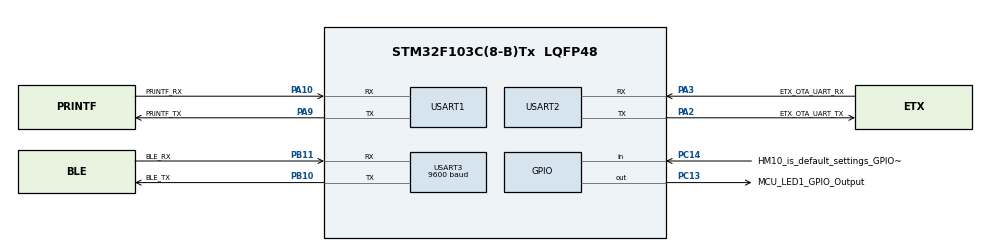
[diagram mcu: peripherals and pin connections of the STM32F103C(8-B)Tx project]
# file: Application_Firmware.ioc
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Mcu.Family=STM32F1
Mcu.Name=STM32F103C(8-B)Tx
Mcu.Package=LQFP48
NVIC.PriorityGroup=NVIC_PRIORITYGROUP_4
NVIC.USART2_IRQn=true\:0\:0\:false\:false\:true\:true\:true\:true
NVIC.USART3_IRQn=true\:0\:0\:false\:false\:true\:true\:true\:true
PA10.GPIO_Label=PRINTF_RX
PA10.Mode=Asynchronous
PA10.Signal=USART1_RX
PA2.GPIO_Label=ETX_OTA_UART_TX
PA2.Mode=Asynchronous
PA2.Signal=USART2_TX
PA3.GPIO_Label=ETX_OTA_UART_RX
PA3.Mode=Asynchronous
PA3.Signal=USART2_RX
PA9.GPIO_Label=PRINTF_TX
PA9.Mode=Asynchronous
PA9.Signal=USART1_TX
PB10.GPIO_Label=BLE_TX
PB10.Mode=Asynchronous
PB10.Signal=USART3_TX
PB11.GPIO_Label=BLE_RX
PB11.Mode=Asynchronous
PB11.Signal=USART3_RX
PC13-TAMPER-RTC.GPIO_Label=MCU_LED1_GPIO_Output
PC13-TAMPER-RTC.PinState=GPIO_PIN_SET
PC13-TAMPER-RTC.Signal=GPIO_Output
PC14-OSC32_IN.GPIO_Label=HM10_is_default_settings_GPIO_Input
PC14-OSC32_IN.GPIO_PuPd=GPIO_PULLDOWN
PC14-OSC32_IN.Signal=GPIO_Input
PD0-OSC_IN.Mode=HSE-External-Oscillator
PD0-OSC_IN.Signal=RCC_OSC_IN
PD1-OSC_OUT.Mode=HSE-External-Oscillator
PD1-OSC_OUT.Signal=RCC_OSC_OUT
ProjectManager.HeapSize=0x200
ProjectManager.StackSize=0x400
ProjectManager.TargetToolchain=STM32CubeIDE
RCC.AHBCLKDivider=RCC_SYSCLK_DIV4
RCC.AHBFreq_Value=2000000
RCC.APB1Freq_Value=2000000
RCC.APB1TimFreq_Value=2000000
RCC.APB2Freq_Value=2000000
RCC.APB2TimFreq_Value=2000000
RCC.HCLKFreq_Value=2000000
RCC.SYSCLKSource=RCC_SYSCLKSOURCE_HSE
RCC.TimSys_Div=SYSTICK_CLKSOURCE_HCLK_DIV8
RCC.USBFreq_Value=8000000
USART1.VirtualMode=VM_ASYNC
USART2.VirtualMode=VM_ASYNC
USART3.BaudRate=9600
USART3.VirtualMode=VM_ASYNC
VP_SYS_VS_ND.Mode=No_Debug
board=custom

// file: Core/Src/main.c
/* USER CODE BEGIN Header */
/** @file
 *	@brief	Main file at which the main/actual application of our MCU/MPU lies at.
 *
 * @defgroup main Main module
 * @{
 *
 * @brief	This is the Main Module, where the main part of the application of the whole code lies.
 *
 * @details	The purpose of this module is to provide a template code for any general purpose application that is desired
 *          to be developed for an STM32 MCU/MPU in which such a template consists of an Application Firmware that
 *          already provides the code to manage and handle Firmware Updates via the Mortrack's ETX OTA Protocol which
 *          uses the @ref firmware_update_config .
 *
 * @note    The @ref main template is actually functioning as an Application Firmware that has a Bootloader counterpart
 *          and that should be located in an independent project to this, next to the root folder where the @ref main
 *          project's File Path is located at.
 *
 * @details	In addition, the ETX OTA Protocol also optionally allows to receive Custom Data from the host machine for
 * 			whatever purpose the implementer requires it for.
 * @details In the case of receiving an ETX OTA Custom Data Request from the host machine, then the received data will
 *          be handled via the @ref etx_ota_custom_data struct at the @ref etx_ota_status_resp_handler function in order
 *          to be able to immediately process any new received ETX OTA Custom Data from the host.
 *
 * @note    To learn more details about how to configure and handle ETX OTA Custom Data Requests, see the
 *          @ref init_firmware_update_module and @ref etx_ota_status_resp_handler functions.
 *
 * @details The logic contemplated in this @ref main template assumes that neither Bootloader or Application Firmware
 *          Updates will be applied by this Application Firmware. Instead, whenever receiving those requests, our
 *          MCU/MPU should apply a Software Reset in order to enter into Bootloader mode again to try receiving those
 *          Firmware Update requests there, since it is expected that only the Bootloader installs Firmware Images into
 *          our MCU/MPU.
 *
 * @author 	Cesar Miranda Meza (cmirandameza3@hotmail.com)
 * @date	December 13, 2023.
 */
/* USER CODE END Header */
#include "main.h"

/* USER CODE BEGIN Includes */
#include <stdio.h>	// Library from which "printf" is located at.
#include <stdint.h> // This library contains the aliases: uint8_t, uint16_t, uint32_t, etc.
#include "app_side_etx_ota.h" // This custom Mortrack's library contains the functions, definitions and variables required so that the Main module can receive and apply Firmware Update Images to our MCU/MPU.
/* USER CODE END Includes */

/* USER CODE BEGIN PD */
#define APLICATION_FIRMWARE_ADDRESS					(ETX_APP_FLASH_ADDR)					/**< @brief Designated Memory Location address for the Application Firmware. */
#define GPIO_MCU_LED1_Pin							(GPIO_PIN_13)							/**< @brief Label for Pin PC13 in Output Mode, which is the Green LED1 of our MCU that the @ref main module will use in its program for indicating to the user whenever our MCU/MPU gets a software error or not. @details The following are the output states to be taken into account:<br><br>* 0 (i.e., Low State and also LED1 turned On) = MCU got a Software Error.<br>* 1 (i.e., High State and also LED1 turned Off) = MCU has no software error. */
#define GPIO_is_hm10_default_settings_Port 			((GPIO_TypeDef *) GPIOC)				/**< @brief @ref GPIO_TypeDef Type of the GPIO Port towards which the Input Mode GPIO Pin PC14 will be used so that our MCU can know whether the user wants it to set the default configuration settings in the HM-10 BT Device or not. */
#define GPIO_is_hm10_default_settings_Pin			(GPIO_PIN_14)							/**< @brief Label for the GPIO Pin 14 towards which the GPIO Pin PC14 in Input Mode is at, which is used so that our MCU can know whether the user wants it to set the default configuration settings in the HM-10 BT Device or not. @details The following are the possible values of this Pin:<br><br>* 0 (i.e., Low State) = Do not reset/change the configuration settings of the HM-10 BT Device.<br>* 1 (i.e., High State) = User requests to reset the configuration settings of the HM-10 BT Device to its default settings. */
#define MAJOR 										(0)										/**< @brief Major version number of our MCU/MPU's Application Firmware. */
#define MINOR 										(4)										/**< @brief Minor version number of our MCU/MPU's Application Firmware. */
/* USER CODE END PD */

UART_HandleTypeDef huart1;
UART_HandleTypeDef huart2;
UART_HandleTypeDef huart3;

/* USER CODE BEGIN PV */
// NOTE: "huart1" is used for debugging messages via printf() from stdio.h library.
// NOTE: "huart2" is used for communicating with the host that will be sending firmware images to our MCU via the ETX OTA Protocol with the UART Hardware Protocol.
// NOTE: "huart3" is used for communicating with the host that will be sending firmware images to our MCU via the ETX OTA Protocol with the BT Hardware Protocol.
const uint8_t APP_version[2] = {MAJOR, MINOR};		/**< @brief Global array variable used to hold the Major and Minor version number of our MCU/MPU's Application Firmware in the 1st and 2nd byte respectively. */
firmware_update_config_data_t fw_config;			        /**< @brief Global struct used to either pass to it the data that we want to write into the designated Flash Memory pages of the @ref firmware_update_config sub-module or, in the case of a read request, where that sub-module will write the latest data contained in the sub-module. */
etx_ota_custom_data_t etx_ota_custom_data;			        /**< @brief	Global struct where it is desired to hold the handling data for any received ETX OTA Custom Data. */
static HM10_GPIO_def_t GPIO_is_hm10_default_settings;       /**< @brief Global variable that will to hold the GPIO pin parameters of the Input Mode GPIO Pin to be used so that our MCU can know whether the user wants it to set the default configuration settings in the HM-10 BT Device or not. */
/* USER CODE END PV */

void SystemClock_Config(void);
static void MX_GPIO_Init(void);
static void MX_USART1_UART_Init(void);
static void MX_USART2_UART_Init(void);
static void MX_USART3_UART_Init(void);
/* USER CODE BEGIN PFP */

/**@brief	Initializes the @ref firmware_update_config sub-module and then loads the latest data that has been written
 *          into it, if there is any. However, in the case that any of these processes fail, then this function will
 *          endlessly loop via a \c while() function and set the @ref GPIO_MCU_LED1_Pin to @ref GPIO_PIN_RESET state.
 *
 * @details	In case that all the processes conclude successfully, the latest data of the @ref firmware_update_config
 *          sub-module will be copied into the global struct \c fw_config .
 *
 * @details	A maximum of three attempts to initialize this module will be made, with a delay of 0.5 seconds each.
 *
 * @author	César Miranda Meza (cmirandameza3@hotmail.com)
 * @date	November 19, 2023
 */
static void custom_firmware_update_config_init();

/**@brief	Initializes the @ref bl_side_firmware_update with a desired Hardware Protocol and, only in the case that the
 *          initialization is unsuccessful, then this function will endlessly loop via a \c while() function and set the
 *          @ref GPIO_MCU_LED1_Pin to @ref GPIO_PIN_RESET state.
 *
 * @details	This function creates and populate the fields of three structs required for initializing the
 *          @ref bl_side_firmware_update via the @ref init_firmware_update_module function. In the case where that
 *          function initializes the @ref bl_side_firmware_update successfully, then this
 *          @ref custom_firmware_update_config_init function will terminate. Otherwise, it will endlessly loop via a \c
 *          while() function and set the @ref GPIO_MCU_LED1_Pin to @ref GPIO_PIN_RESET state.
 *
 * @note    The @ref fw_config Global struct must have already been populated with the latest data written into the
 *          @ref firmware_update_config before calling this function.
 *
 * @param hw_protocol   ETX OTA Hardware Protocol that is desired to enable whenever using the ETX OTA Protocol.
 * @param[in] p_huart   Pointer to the UART that wants to be used from our MCU/MPU as the means for using the chosen ETX
 *                      OTA Hardware Protocol.
 *
 * @author	César Miranda Meza
 * @date	November 19, 2023
 */
static void custom_init_etx_ota_protocol_module(ETX_OTA_hw_Protocol hw_protocol, UART_HandleTypeDef *p_huart);

/**@brief	Validates the CRC of our MCU/MPU's current Application Firmware and, only in the case that the Application
 *          Firmware is not valid or is corrupted, then this function will endlessly loop via a \c while() function and
 *          set the @ref GPIO_MCU_LED1_Pin to @ref GPIO_PIN_RESET state.
 *
 * @details	This function reads the data stored in the @ref firmware_update_config via the @ref fw_config Global struct
 *          to get the recorded CRC of the Application Firmware and it calculates the CRC of the actual Application
 *          Firmware currently installed in our MCU/MPU. After this, both CRCs are used for validating our MCU/MPU's
 *          current Bootloader Firmware. If both CRCs match, then this function will terminate. Otherwise, it will
 *          endlessly loop via a \c while() function and set the @ref GPIO_MCU_LED1_Pin to @ref GPIO_PIN_RESET state.
 *
 * @note    The @ref fw_config Global struct must have already been populated with the latest data written into the
 *          @ref firmware_update_config before calling this function.
 *
 * @author	César Miranda Meza
 * @date	November 19, 2023
 */
static void validate_application_firmware();

/* USER CODE END PFP */

int main(void)
{

  /* MCU Configuration--------------------------------------------------------*/

  /* Reset of all peripherals, Initializes the Flash interface and the Systick. */
  HAL_Init();

  /* Configure the system clock */
  SystemClock_Config();

  /* Initialize all configured peripherals */
  MX_GPIO_Init();
  MX_USART1_UART_Init();
  MX_USART2_UART_Init();
  MX_USART3_UART_Init();
  /* USER CODE BEGIN 2 */

    /* Send a message from the Application showing the current Application version there. */
  	printf("Starting Application v%d.%d\r\n", APP_version[0], APP_version[1]);

    /* We initialize the Firmware Update Configurations sub-module and the ETX OTA Firmware Update module, and also validate the currently installed Application Firmware in our MCU/MPU. */
    // NOTE: These initializations must be made in that order. After those, you may call the initialization functions of your actual application.
    custom_firmware_update_config_init();
    custom_init_etx_ota_protocol_module(ETX_OTA_hw_Protocol_BT, &huart3);
    validate_application_firmware();

  /* USER CODE END 2 */

  /* Infinite loop */
  while (1)
  {

    /* USER CODE BEGIN 3 */
	// NOTE: Write your actual application code here.
  }
  /* USER CODE END 3 */
}

void SystemClock_Config(void)
{
  RCC_OscInitTypeDef RCC_OscInitStruct = {0};
  RCC_ClkInitTypeDef RCC_ClkInitStruct = {0};

  /** Initializes the RCC Oscillators according to the specified parameters
  * in the RCC_OscInitTypeDef structure.
  */
  RCC_OscInitStruct.OscillatorType = RCC_OSCILLATORTYPE_HSE;
  RCC_OscInitStruct.HSEState = RCC_HSE_ON;
  RCC_OscInitStruct.PLL.PLLState = RCC_PLL_NONE;
  if (HAL_RCC_OscConfig(&RCC_OscInitStruct) != HAL_OK)
  {
    Error_Handler();
  }

  /** Initializes the CPU, AHB and APB buses clocks
  */
  RCC_ClkInitStruct.ClockType = RCC_CLOCKTYPE_HCLK|RCC_CLOCKTYPE_SYSCLK
                              |RCC_CLOCKTYPE_PCLK1|RCC_CLOCKTYPE_PCLK2;
  RCC_ClkInitStruct.SYSCLKSource = RCC_SYSCLKSOURCE_HSE;
  RCC_ClkInitStruct.AHBCLKDivider = RCC_SYSCLK_DIV4;
  RCC_ClkInitStruct.APB1CLKDivider = RCC_HCLK_DIV1;
  RCC_ClkInitStruct.APB2CLKDivider = RCC_HCLK_DIV1;

  if (HAL_RCC_ClockConfig(&RCC_ClkInitStruct, FLASH_LATENCY_0) != HAL_OK)
  {
    Error_Handler();
  }
}

static void MX_USART1_UART_Init(void)
{

  huart1.Instance = USART1;
  huart1.Init.BaudRate = 115200;
  huart1.Init.WordLength = UART_WORDLENGTH_8B;
  huart1.Init.StopBits = UART_STOPBITS_1;
  huart1.Init.Parity = UART_PARITY_NONE;
  huart1.Init.Mode = UART_MODE_TX_RX;
  huart1.Init.HwFlowCtl = UART_HWCONTROL_NONE;
  huart1.Init.OverSampling = UART_OVERSAMPLING_16;
  if (HAL_UART_Init(&huart1) != HAL_OK)
  {
    Error_Handler();
  }

}

static void MX_USART2_UART_Init(void)
{

  huart2.Instance = USART2;
  huart2.Init.BaudRate = 115200;
  huart2.Init.WordLength = UART_WORDLENGTH_8B;
  huart2.Init.StopBits = UART_STOPBITS_1;
  huart2.Init.Parity = UART_PARITY_NONE;
  huart2.Init.Mode = UART_MODE_TX_RX;
  huart2.Init.HwFlowCtl = UART_HWCONTROL_NONE;
  huart2.Init.OverSampling = UART_OVERSAMPLING_16;
  if (HAL_UART_Init(&huart2) != HAL_OK)
  {
    Error_Handler();
  }

}

static void MX_USART3_UART_Init(void)
{

  huart3.Instance = USART3;
  huart3.Init.BaudRate = 9600;
  huart3.Init.WordLength = UART_WORDLENGTH_8B;
  huart3.Init.StopBits = UART_STOPBITS_1;
  huart3.Init.Parity = UART_PARITY_NONE;
  huart3.Init.Mode = UART_MODE_TX_RX;
  huart3.Init.HwFlowCtl = UART_HWCONTROL_NONE;
  huart3.Init.OverSampling = UART_OVERSAMPLING_16;
  if (HAL_UART_Init(&huart3) != HAL_OK)
  {
    Error_Handler();
  }

}

static void MX_GPIO_Init(void)
{
  GPIO_InitTypeDef GPIO_InitStruct = {0};

  /* GPIO Ports Clock Enable */
  __HAL_RCC_GPIOC_CLK_ENABLE();
  __HAL_RCC_GPIOD_CLK_ENABLE();
  __HAL_RCC_GPIOA_CLK_ENABLE();
  __HAL_RCC_GPIOB_CLK_ENABLE();

  /*Configure GPIO pin Output Level */
  HAL_GPIO_WritePin(GPIOC, GPIO_PIN_13, GPIO_PIN_SET);

  /*Configure GPIO pin : PC13 */
  GPIO_InitStruct.Pin = GPIO_PIN_13;
  GPIO_InitStruct.Mode = GPIO_MODE_OUTPUT_PP;
  GPIO_InitStruct.Pull = GPIO_NOPULL;
  GPIO_InitStruct.Speed = GPIO_SPEED_FREQ_LOW;
  HAL_GPIO_Init(GPIOC, &GPIO_InitStruct);

  /*Configure GPIO pin : PC14 */
  GPIO_InitStruct.Pin = GPIO_PIN_14;
  GPIO_InitStruct.Mode = GPIO_MODE_INPUT;
  GPIO_InitStruct.Pull = GPIO_PULLDOWN;
  HAL_GPIO_Init(GPIOC, &GPIO_InitStruct);

}

/* USER CODE BEGIN 4 */

/**@brief	Compiler definition to be able to use the @ref printf function from stdio.h library in order to print
 *          characters via the UART1 Peripheral but by using that @ref printf function.
 *
 * @return	The \p ch param.
 *
 * author	César Miranda Meza
 * @date	July 07, 2023
 */
#ifdef __GNUC__
/* With GCC, small printf (option LD Linker->Libraries->Small printf set to 'Yes') calls __io_putchar(). */
int __io_putchar(int ch)
#else
int fputc(int ch, FILE *f)
#endif /* __GNUC__ */
{
	/* Place your implementation of fputc here. */
	/* NOTE: The characters written into the UART1 Protocol will be looped until the end of transmission. */
	HAL_UART_Transmit(&huart1, (uint8_t *) &ch, 1, HAL_MAX_DELAY);
	return ch;
}

static void custom_firmware_update_config_init()
{
    /** <b>Local variable ret:</b> Return value of a @ref FirmUpdConf_Status function type. */
    int16_t ret;
    /** <b>Local variable attempts:</b> Counter for the number of attempts to initialize the Firmware Update Configurations sub-module. */
    uint8_t attempts = 0;
    /** <b>Local variable end_tick:</b> Defines the HAL Tick that our MCU/MPU needs to reach so that 0.5 seconds have passed with respect to each attempt to initialize the @ref firmware_update_config . */
    uint32_t end_tick;
    /** <b>Local variable current_tick:</b> Current HAL Tick in our MCU/MPU. */
    uint32_t current_tick;

    printf("Initializing the Firmware Update Configurations sub-module...\r\n");
    do
    {
        /* Delay of 500 milliseconds. */
        end_tick = HAL_GetTick() + 500;
        current_tick = 0;
        while (current_tick < end_tick)
        {
            current_tick = HAL_GetTick();
        }

        /* We attempt to initialize the Firmware Update Configurations sub-module. */
        ret = firmware_update_configurations_init();
        attempts++;
        if (ret == FIRM_UPDT_CONF_EC_OK)
        {
            /* We read the latest data that has been written into the Firmware Update Configurations sub-module. */
            firmware_update_configurations_read(&fw_config);
            printf("DONE: Firmware Update Configurations sub-module has been successfully initialized.\r\n");

            return;
        }
        printf("WARNING: The Firmware Update Configurations sub-module could not be initialized at attempt %d...\r\n", attempts);
    }
    while(attempts < 3);

    printf("ERROR: The Firmware Update Configurations sub-module could not be initialized. Our MCU/MPU will halt!.\r\n");
    HAL_GPIO_WritePin(GPIOC, GPIO_MCU_LED1_Pin, GPIO_PIN_RESET);
    while (1);
}

static void custom_init_etx_ota_protocol_module(ETX_OTA_hw_Protocol hw_protocol, UART_HandleTypeDef *p_huart)
{
    /** <b>Local variable ret:</b> Used to hold the exception code value returned by a @ref ETX_OTA_Status function type. */
    ETX_OTA_Status ret;

    printf("Initializing the ETX OTA Firmware Update Module.\r\n");
    GPIO_is_hm10_default_settings.GPIO_Port = GPIO_is_hm10_default_settings_Port;
    GPIO_is_hm10_default_settings.GPIO_Pin = GPIO_is_hm10_default_settings_Pin;

    ret = init_firmware_update_module(hw_protocol, p_huart, &fw_config, &GPIO_is_hm10_default_settings, &etx_ota_custom_data);
    if (ret != ETX_OTA_EC_OK)
    {
    	printf("ERROR: The ETX OTA Firmware Update Module could not be initialized. Our MCU/MPU will halt!.\r\n");
        HAL_GPIO_WritePin(GPIOC, GPIO_MCU_LED1_Pin, GPIO_PIN_RESET);
        while (1);
    }
    printf("DONE: The ETX OTA Firmware Update Module has been successfully initialized.\r\n");
}

static void validate_application_firmware()
{
	printf("Validating currently installed Application Firmware in our MCU/MPU...\r\n");
    if ((fw_config.App_fw_size==DATA_BLOCK_32BIT_ERASED_VALUE) || (fw_config.App_fw_size==0x00000000))
	{
    	printf("ERROR: No Application Firmware has been identified to be installed in our MCU/MPU.\r\n");
        HAL_GPIO_WritePin(GPIOC, GPIO_MCU_LED1_Pin, GPIO_PIN_RESET);
        while (1);
	}

    if (fw_config.App_fw_rec_crc == DATA_BLOCK_32BIT_ERASED_VALUE)
    {
    	printf("ERROR: The recorded 32-bit CRC of the installed Application Firmware has no value in it.\r\n");
        HAL_GPIO_WritePin(GPIOC, GPIO_MCU_LED1_Pin, GPIO_PIN_RESET);
        while (1);
    }

    /** <b>Local variable cal_crc:</b> Value holder for the calculated 32-bit CRC of our MCU/MPU's current Application Firmware. */
	uint32_t cal_crc = crc32_mpeg2((uint8_t *) APLICATION_FIRMWARE_ADDRESS, fw_config.App_fw_size);

    if (cal_crc != fw_config.App_fw_rec_crc)
    {
    	printf("ERROR: The recorded 32-bit CRC of the installed Application Firmware Image mismatches with the calculated one: [Calculated CRC = 0x%08X] [Recorded CRC = 0x%08X]\r\n",
    			(unsigned int) cal_crc, (unsigned int) fw_config.App_fw_rec_crc);
        HAL_GPIO_WritePin(GPIOC, GPIO_MCU_LED1_Pin, GPIO_PIN_RESET);
        while (1);
    }
    printf("DONE: The currently installed Application Firmware in our MCU/MPU has been successfully validated.\r\n");
}

void etx_ota_pre_transaction_handler()
{
	// NOTE: The code contained is this function is what you should substitute with whatever you wish to do or to stop doing before an ETX OTA Transaction gives place.
	printf("An ETX OTA Transaction is about to give place.\r\n");
	printf("Finishing or stopping a certain task before proceeding with the ETX OTA Transaction...\r\n");
}

void etx_ota_status_resp_handler(ETX_OTA_Status resp)
{
    switch (resp)
    {
        case ETX_OTA_EC_OK:
        	// NOTE: The whole code of this case is what you should substitute with whatever you wish to do with the received ETX OTA Custom Data.
        	printf("DONE: An ETX OTA Transaction has been successfully completed.\r\n");
        	printf("Showing the ETX OTA Custom Data that was received: [\r\n");
        	for (int i=0; i<etx_ota_custom_data.size-1; i++)
        	{
        		printf("%d, ", etx_ota_custom_data.data[i]);
        	}
        	printf("%d]\r\n", etx_ota_custom_data.data[etx_ota_custom_data.size-1]);
        	// NOTE: The following if-code that stops ETX OTA Transactions is just to display an example on a possible way to use/call the @ref stop_etx_ota function, but must not be taken as something that must always be made whenever using this ETX OTA Protocol library.
        	if (etx_ota_custom_data.data[0] == 0xFF)
        	{
        		stop_etx_ota();
        	}
	    	break;
        case ETX_OTA_EC_STOP:
        	printf("DONE: ETX OTA process has been aborted. Try again...\r\n");
			start_etx_ota();
	    	break;
        case ETX_OTA_EC_NR:
            // No response was received from host. Therefore, try hearing for a response from the host again in case our MCU/MPU is still in DFU mode.
            break;
        case ETX_OTA_EC_NA:
        	printf("WARNING: A Firmware Image Update has been request.\r\n");
        	printf("Resetting our MCU/MPU to jump into its Bootloader Firmware to receive the desired Firmware Image there and then try again...\r\n");
			HAL_NVIC_SystemReset(); // We reset our MCU/MPU to try installing a Firmware Image there.
	    	break;
        case ETX_OTA_EC_ERR:
        	printf("ERROR: ETX OTA process has failed. Try again...\r\n");
        	start_etx_ota();
	    	break;
        default:
        	/* This should never be called. */
        	printf("ERROR: Exception Code received %d is not recognized. Our MCU/MPU will halt!.\r\n", resp);
			HAL_GPIO_WritePin(GPIOC, GPIO_MCU_LED1_Pin, GPIO_PIN_RESET);
	    	while (1);
    }
}

/* USER CODE END 4 */

void Error_Handler(void)
{
  __disable_irq();
  while (1)
  {
  }
}

/** @} */
